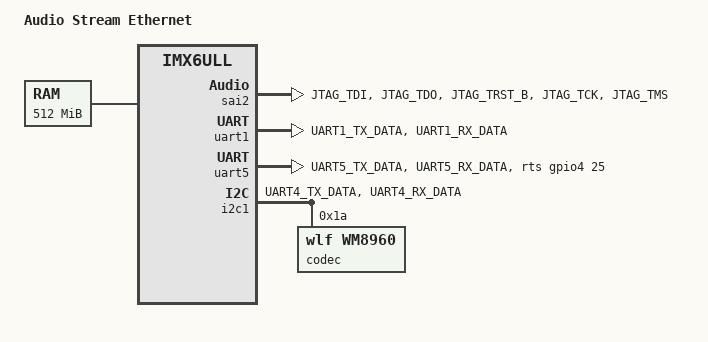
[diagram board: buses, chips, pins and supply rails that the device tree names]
/*
 * Copyright (C) 2016 Freescale Semiconductor, Inc.
 *
 * This program is free software; you can redistribute it and/or modify
 * it under the terms of the GNU General Public License version 2 as
 * published by the Free Software Foundation.
 */

/dts-v1/;

#include <dt-bindings/input/input.h>
#include "imx6ull.dtsi"

/ {
	model = "Audio Stream Ethernet";
	compatible = "wirelessroad,gw-imx6ull", "fsl,imx6ull";

	chosen {
		stdout-path = &uart1;
		bootargs = "console=ttymxc0,115200 rootwait fixrtc";
	};

	memory@80000000 {
        device_type = "memory";
		reg = <0x80000000 0x20000000>;
	};

	aliases {
		cpu0 = &cpu0;
		
		clks = &clks;
		fec1 = &fec1;
		fec2 = &fec2;
		ecspi3 = &ecspi3;
		gpc = &gpc;
		gpmi = &gpmi;
		iomuxc = &iomuxc;
		usbotg1 = &usbotg1;
		usbotg2 = &usbotg2;
		wdog1 = &wdog1;
	};
	
	@aips3  {
		compatible = "fsl,aips-bus", "simple-bus";
		#address-cells = <1>;
		#size-cells = <1>;
		reg = <0x02200000 0x100000>;
		ranges;


		rngb: rngb@02284000 {
			compatible = "fsl,imx6sl-rng", "fsl,imx-rng", "imx-rng";
			reg = <0x02284000 0x4000>;
			interrupts = <GIC_SPI 6 IRQ_TYPE_LEVEL_HIGH>;
			clocks =  <&clks IMX6UL_CLK_DUMMY>;
		};

		@iomuxc_snvs {
			compatible = "fsl,imx6ull-iomuxc-snvs";
			reg = <0x02290000 0x10000>;
			pinctrl-names = "default_snvs";
		};

	};

	sound {
		compatible = "simple-audio-card";
		simple-audio-card,name = "mx6ul-wm8960";
		simple-audio-card,format = "i2s";
		simple-audio-card,bitclock-master = <&dailink_master>;
		simple-audio-card,frame-master = <&dailink_master>;
		simple-audio-card,widgets =
			"Microphone", "Mic Jack",
			"Speaker", "Headphone Jack";
		simple-audio-card,routing =
			"Headphone Jack", "HP_L",
			"Headphone Jack", "HP_R",
			"Mic Jack", "MICB",
			"LINPUT1", "Mic Jack";

		simple-audio-card,cpu {
			sound-dai = <&sai2>;
		};

		dailink_master: simple-audio-card,codec {
			sound-dai = <&codec>;
			clocks = <&clks IMX6UL_CLK_SAI2>;
		};
	};
};

#include "wr_cpu.dtsi"
#include "wr_partitions.dtsi"
#include "wr_ethernet.dtsi"
#include "wr_usb.dtsi"
#include "wr_watchdog.dtsi"


&clks {
	assigned-clocks = <&clks IMX6UL_CLK_PLL4_AUDIO_DIV>;
	assigned-clock-rates = <786432000>;
};

&gpc {
	fsl,cpu_pupscr_sw2iso = <0x1>;
	fsl,cpu_pupscr_sw = <0x0>;
	fsl,cpu_pdnscr_iso2sw = <0x1>;
	fsl,cpu_pdnscr_iso = <0x1>;
	fsl,ldo-bypass = <0>; /* DCDC, ldo-enable */
};

&iomuxc {
	pinctrl-names = "default";
	pinctrl-0 = <&pinctrl_hog_1>;
	imx6ul-evk {
		pinctrl_hog_1: hoggrp-1 {
			fsl,pins = <
				MX6UL_PAD_UART1_RTS_B__GPIO1_IO19	0x17059 /* SD1 CD */
				MX6UL_PAD_NAND_RE_B__GPIO4_IO00         0x000010B0 /* General GPIO */
				MX6UL_PAD_NAND_WE_B__GPIO4_IO01         0x000010B0 /* General GPIO */
				MX6UL_PAD_NAND_DATA00__GPIO4_IO02       0x000010B0 /* General GPIO */    
                MX6UL_PAD_NAND_DATA01__GPIO4_IO03       0x000010B0 /* General GPIO */
                MX6UL_PAD_NAND_DATA02__GPIO4_IO04       0x000010B0 /* General GPIO */
			>;
		};
		
		pinctrl_ecspi3_0: ecspi3grp-0 {
			fsl,pins = <
				MX6UL_PAD_UART2_CTS_B__ECSPI3_MOSI	0x110b1
				MX6UL_PAD_UART2_RTS_B__ECSPI3_MISO	0x110b1
				MX6UL_PAD_UART2_RX_DATA__ECSPI3_SCLK	0x110b1
				MX6UL_PAD_UART2_TX_DATA__GPIO1_IO20	0x10b0
			>;
		};

		pinctrl_i2c1: i2c1grp {
			fsl,pins = <
				MX6UL_PAD_UART4_TX_DATA__I2C1_SCL	0x4001b8b0
				MX6UL_PAD_UART4_RX_DATA__I2C1_SDA	0x4001b8b0
			>;
		};

		pinctrl_usb_otg1_id: usbotg1idgrp {
			fsl,pins = <
				MX6UL_PAD_GPIO1_IO00__ANATOP_OTG1_ID	0x17059
			>;
		};
		
		pinctrl_enet1: enet1grp {
			fsl,pins = <
				MX6UL_PAD_GPIO1_IO07__ENET1_MDC         0x1b0b0
				MX6UL_PAD_GPIO1_IO06__ENET1_MDIO	0x1b0b0
				MX6UL_PAD_ENET1_RX_EN__ENET1_RX_EN	0x1b0b0
				MX6UL_PAD_ENET1_RX_ER__ENET1_RX_ER	0x1b0b0
				MX6UL_PAD_ENET1_RX_DATA0__ENET1_RDATA00	0x1b0b0
				MX6UL_PAD_ENET1_RX_DATA1__ENET1_RDATA01	0x1b0b0
				MX6UL_PAD_ENET1_TX_EN__ENET1_TX_EN	0x1b0b0
				MX6UL_PAD_ENET1_TX_DATA0__ENET1_TDATA00	0x1b0b0
				MX6UL_PAD_ENET1_TX_DATA1__ENET1_TDATA01	0x1b0b0
				MX6UL_PAD_ENET1_TX_CLK__ENET1_REF_CLK1	0x4001b031
			>;
		};

		pinctrl_enet2: enet2grp {
				fsl,pins = <
						MX6UL_PAD_ENET2_RX_EN__ENET2_RX_EN      0x1b0b0
						MX6UL_PAD_ENET2_RX_ER__ENET2_RX_ER      0x1b0b0
						MX6UL_PAD_ENET2_RX_DATA0__ENET2_RDATA00 0x1b0b0
						MX6UL_PAD_ENET2_RX_DATA1__ENET2_RDATA01 0x1b0b0
						MX6UL_PAD_ENET2_TX_EN__ENET2_TX_EN      0x1b0b0
						MX6UL_PAD_ENET2_TX_DATA0__ENET2_TDATA00 0x1b0b0
						MX6UL_PAD_ENET2_TX_DATA1__ENET2_TDATA01 0x1b0b0
						MX6UL_PAD_ENET2_TX_CLK__ENET2_REF_CLK2  0x4001b031
				>;
		};


		pinctrl_uart1: uart1grp {
			fsl,pins = <
				MX6UL_PAD_UART1_TX_DATA__UART1_DCE_TX 0x1b0b1
				MX6UL_PAD_UART1_RX_DATA__UART1_DCE_RX 0x1b0b1
			>;
		};

		pinctrl_uart5: uart5grp {
			fsl,pins = <
				MX6UL_PAD_UART5_TX_DATA__UART5_DCE_TX 0x1b0b1
				MX6UL_PAD_UART5_RX_DATA__UART5_DCE_RX 0x1b0b1
			>;
		};
		
		
		pinctrl_wdog: wdoggrp {
			fsl,pins = <
				MX6UL_PAD_LCD_RESET__WDOG1_WDOG_ANY    0x30b0
			>;
		};

		pinctrl_sai2: sai2grp {
			fsl,pins = <
				MX6UL_PAD_JTAG_TDI__SAI2_TX_BCLK    0x17088
				MX6UL_PAD_JTAG_TDO__SAI2_TX_SYNC    0x17088
				MX6UL_PAD_JTAG_TRST_B__SAI2_TX_DATA 0x11088
				MX6UL_PAD_JTAG_TCK__SAI2_RX_DATA    0x11088
				MX6UL_PAD_JTAG_TMS__SAI2_MCLK       0x17088
			>;
		};

	};
};

&sai2 {
	pinctrl-names = "default";
	pinctrl-0 = <&pinctrl_sai2>;
	assigned-clocks = <&clks IMX6UL_CLK_SAI2_SEL>,
			  <&clks IMX6UL_CLK_SAI2>;
	assigned-clock-parents = <&clks IMX6UL_CLK_PLL4_AUDIO_DIV>;
	assigned-clock-rates = <0>, <24000000>;
	status = "okay";
};

&uart1 {
	pinctrl-names = "default";
	pinctrl-0 = <&pinctrl_uart1>;
	status = "okay";
};

&uart5 {
	pinctrl-names = "default";
	pinctrl-0 = <&pinctrl_uart5>;
	rts-gpios = <&gpio4 25 GPIO_ACTIVE_HIGH>;
	status = "okay";
};

&i2c1 {
	clock_frequency = <100000>;
	pinctrl-names = "default";
	pinctrl-0 = <&pinctrl_i2c1>;
	status = "okay";

	codec: wm8960@1a {
		#sound-dai-cells = <0>;
		compatible = "wlf,wm8960";
		reg = <0x1a>;
		wlf,shared-lrclk;
	};
};
